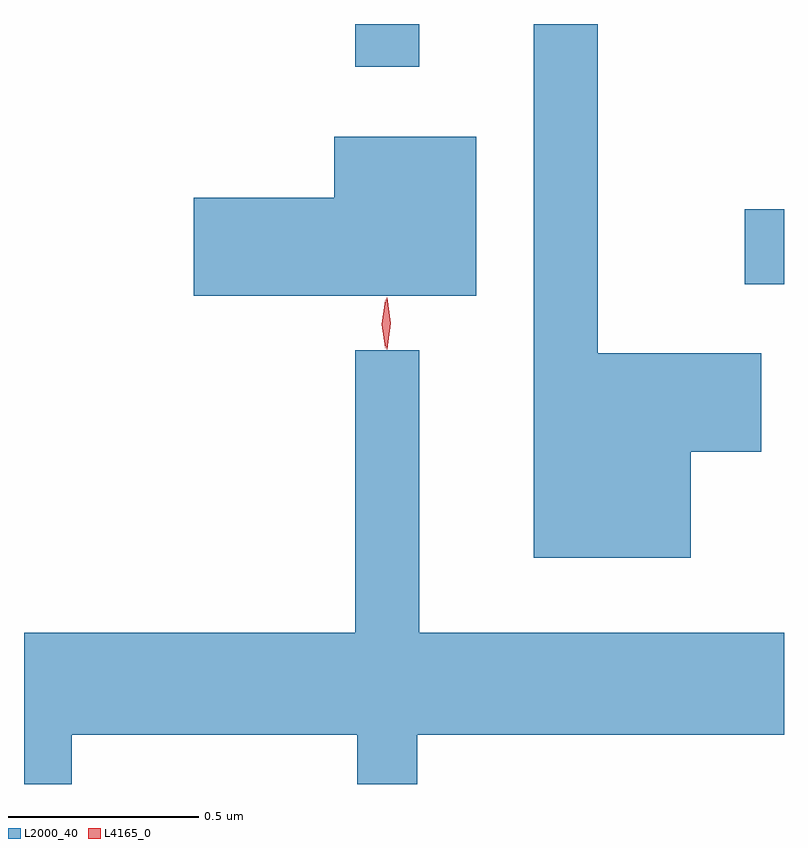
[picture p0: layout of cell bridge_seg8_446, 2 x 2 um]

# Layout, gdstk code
import gdstk
lib = gdstk.Library(unit=1e-6, precision=1e-09)
def R(c, l, rs):  # rectangles x0, y0, x1, y1
    for r in rs: c.add(gdstk.rectangle(r[:2], r[2:], *l))
def P(c, l, *ps):  # polygons
    for p in ps: c.add(gdstk.Polygon(p, *l))
L2000_40 = (2000, 40)
L4165_0 = (4165, 0)

bridge_seg8_446 = lib.new_cell('bridge_seg8_446')
R(bridge_seg8_446, L2000_40, [(876.826,1857.581,876.929,1857.779), (875.801,1858.153,875.969,1858.266)])
P(bridge_seg8_446, L2000_40, [(876.684,1857.141),(876.869,1857.141),(876.869,1857.399),(876.439,1857.399),(876.439,1858.266),(876.271,1858.266),(876.271,1856.861),(876.684,1856.861)],
  [(876.119,1857.969),(875.746,1857.969),(875.746,1857.809),(875.376,1857.809),(875.376,1857.551),(876.119,1857.551)],
  [(875.054,1856.396),(875.806,1856.396),(875.806,1856.266),(875.964,1856.266),(875.964,1856.396),(876.929,1856.396),(876.929,1856.664),(875.969,1856.664),(875.969,1857.408),(875.801,1857.408),(875.801,1856.664),(874.929,1856.664),(874.929,1856.266),(875.054,1856.266)])
P(bridge_seg8_446, L4165_0, [(875.884,1857.41),(875.875,1857.478),(875.884,1857.545),(875.884,1857.546),(875.885,1857.545),(875.894,1857.478),(875.885,1857.41),(875.885,1857.41)],
  [(875.88,1857.413),(875.879,1857.414),(875.87,1857.476),(875.879,1857.539),(875.879,1857.54),(875.88,1857.539),(875.889,1857.476),(875.88,1857.414)])

lib.write_gds('bridge_seg8_446.gds')
